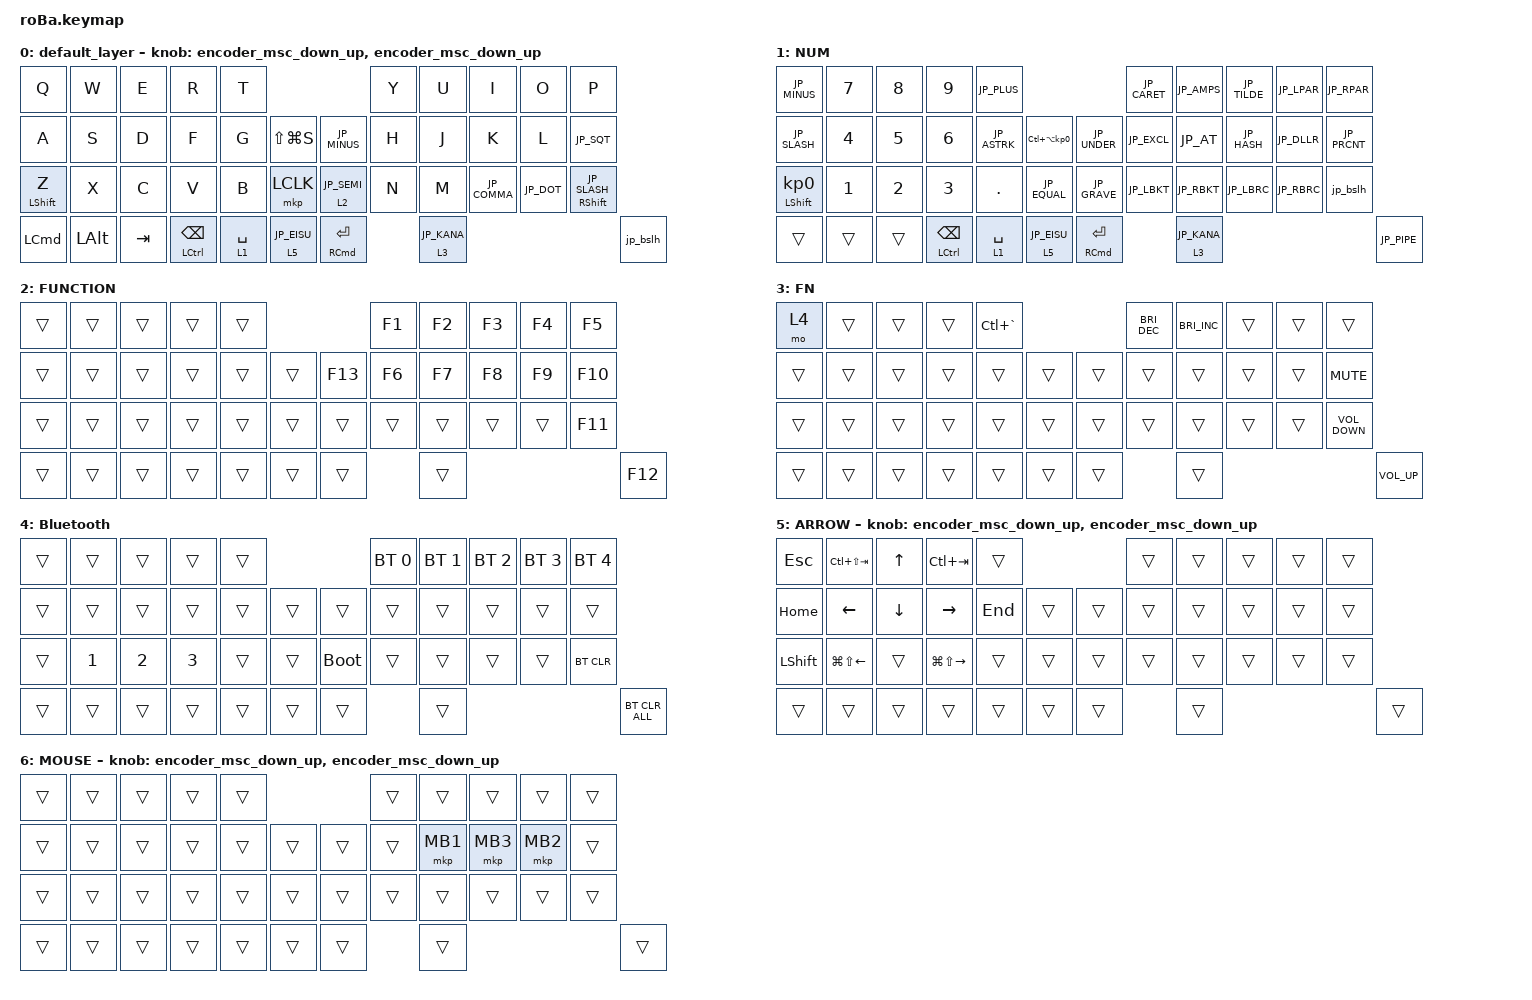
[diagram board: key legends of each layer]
#include <behaviors.dtsi>
#include <dt-bindings/zmk/bt.h>
#include <dt-bindings/zmk/keys.h>
#include <dt-bindings/zmk/pointing.h>
#include "keymap_jp.h"

#define ZMK_POINTING_DEFAULT_SCRL_VAL 80

&mt {
    flavor = "balanced";
    quick-tap-ms = <0>;
};

&lt {
    flavor = "tap-preferred";
    tapping-term-ms = <200>;
};

/ {
    combos {
        compatible = "zmk,combos";
        timeout-ms = <20>; // default is 30ms

        tab {
            bindings = <&kp TAB>;
            key-positions = <11 12>;
        };

        shift_tab {
            bindings = <&kp LS(TAB)>;
            key-positions = <12 13>;
        };

        double_quotation {
            bindings = <&kp DOUBLE_QUOTES>;
            key-positions = <20 21>;
        };

        eq {
            bindings = <&kp EQUAL>;
            key-positions = <24 25>;
        };

        close_paren {
            bindings = <&kp JP_RPAR>;
            key-positions = <8 9>;
        };

        rigtht_click {
            bindings = <&mkp RCLK>;
            key-positions = <19 20>;
        };

        left_click {
            bindings = <&mkp LCLK>;
            key-positions = <18 19>;
        };
    };

    macros {
        // macOS 日本語配列: &kp LA(INT3) では \ にならないことがあるためマクロで Option+¥ を送る
        jp_bslh: jp_bslh {
            compatible = "zmk,behavior-macro";
            #binding-cells = <0>;
            label = "JP_BSLH";
            tap-ms = <20>;
            wait-ms = <10>;
            bindings =
                <&macro_press &kp LEFT_ALT>,
                <&macro_tap &kp INT3>,
                <&macro_release &kp LEFT_ALT>;
        };

        to_layer_0: to_layer_0 {
            compatible = "zmk,behavior-macro-one-param";
            #binding-cells = <1>;
            bindings = <&to 2 &macro_param_1to1 &kp MACRO_PLACEHOLDER>;
            label = "TO_LAYER_0";
        };
    };

    behaviors {
        // Space ホールドで NUM に入るとき、他キーと同時押しでもレイヤーが外れないようにする
        lt_num: lt_num {
            compatible = "zmk,behavior-hold-tap";
            label = "LT_NUM";
            bindings = <&mo>, <&kp>;
            #binding-cells = <2>;
            flavor = "hold-preferred";
            tapping-term-ms = <250>;
        };

        lt_to_layer_0: lt_to_layer_0 {
            compatible = "zmk,behavior-hold-tap";
            label = "LAYER_TAP_TO_0";
            bindings = <&mo>, <&to_layer_0>;

            #binding-cells = <2>;
            tapping-term-ms = <200>;
        };

        encoder_msc_down_up: encoder_msc_down_up {
            compatible = "zmk,behavior-sensor-rotate";
            label = "ENCODER_MSC_DOWN_UP";
            #sensor-binding-cells = <0>;
            bindings = <&msc SCRL_DOWN>, <&msc SCRL_UP>;

            tap-ms = <20>;
        };
    };

    keymap {
        compatible = "zmk,keymap";

        default_layer {
            bindings = <
&kp Q             &kp W         &kp E    &kp R                    &kp T                                                 &kp Y        &kp U  &kp I      &kp O    &kp P
&kp A             &kp S         &kp D    &kp F                    &kp G        &kp LS(LG(S))         &kp JP_MINUS        &kp H        &kp J  &kp K      &kp L    &kp JP_SQT
&mt LEFT_SHIFT Z  &kp X         &kp C    &kp V                    &kp B        &mkp LCLK             &lt 2 JP_SEMI         &kp N        &kp M  &kp JP_COMMA  &kp JP_DOT  &mt RSHIFT JP_SLASH
&kp LEFT_COMMAND  &kp LEFT_ALT  &kp TAB  &mt LEFT_CONTROL BACKSPACE  &lt_num 1 SPACE  &lt 5 JP_EISU            &mt RIGHT_COMMAND RETURN  &lt 3 JP_KANA                             &jp_bslh
            >;

            sensor-bindings = <&encoder_msc_down_up &encoder_msc_down_up>;
        };

        NUM {
            bindings = <
&kp JP_MINUS                   &kp N7        &kp N8        &kp N9        &kp JP_PLUS                                                &kp JP_CARET         &kp JP_AMPS      &kp JP_TILDE       &kp JP_LPAR  &kp JP_RPAR
&kp JP_SLASH                   &kp NUMBER_4  &kp N5        &kp NUMBER_6  &kp JP_ASTRK  &kp LC(LA(KP_NUMBER_0))      &kp JP_UNDER  &kp JP_EXCL   &kp JP_AT        &kp JP_HASH        &kp JP_DLLR  &kp JP_PRCNT
&mt LEFT_SHIFT KP_NUMBER_0    &kp NUMBER_1  &kp NUMBER_2  &kp NUMBER_3  &kp PERIOD    &kp JP_EQUAL                 &kp JP_GRAVE  &kp JP_LBKT   &kp JP_RBKT       &kp JP_LBRC        &kp JP_RBRC  &jp_bslh
&trans                        &trans        &trans        &mt LEFT_CONTROL BACKSPACE  &lt_num 1 SPACE  &lt 5 JP_EISU            &mt RIGHT_COMMAND RETURN  &lt 3 JP_KANA                             &kp JP_PIPE
            >;
        };

        FUNCTION {
            bindings = <
&trans  &trans  &trans  &trans  &trans                       &kp F1  &kp F2  &kp F3  &kp F4  &kp F5
&trans  &trans  &trans  &trans  &trans  &trans      &kp F13  &kp F6  &kp F7  &kp F8  &kp F9  &kp F10
&trans  &trans  &trans  &trans  &trans  &trans      &trans   &trans  &trans  &trans  &trans  &kp F11
&trans  &trans  &trans  &trans  &trans  &trans      &trans   &trans                          &kp F12
            >;
        };

        FN {
            bindings = <
&mo 4   &trans  &trans  &trans  &kp LC(GRAVE)                 &kp C_BRIGHTNESS_DEC  &kp C_BRIGHTNESS_INC  &trans  &trans  &trans
&trans  &trans  &trans  &trans  &trans  &trans      &trans  &trans                &trans                &trans  &trans  &kp C_MUTE
&trans  &trans  &trans  &trans  &trans  &trans      &trans  &trans                &trans                &trans  &trans  &kp C_VOLUME_DOWN
&trans  &trans  &trans  &trans  &trans  &trans      &trans  &trans                                                      &kp C_VOLUME_UP
            >;
        };

        Bluetooth {
            bindings = <
&trans  &trans        &trans        &trans        &trans                           &bt BT_SEL 0  &bt BT_SEL 1  &bt BT_SEL 2  &bt BT_SEL 3  &bt BT_SEL 4
&trans  &trans        &trans        &trans        &trans  &trans      &trans       &trans        &trans        &trans        &trans        &trans
&trans  &kp NUMBER_1  &kp NUMBER_2  &kp NUMBER_3  &trans  &trans      &bootloader  &trans        &trans        &trans        &trans        &bt BT_CLR
&trans  &trans        &trans        &trans        &trans  &trans      &trans       &trans                                                  &bt BT_CLR_ALL
            >;
        };

        ARROW {
            bindings = <
&kp ESCAPE      &kp LC(LS(TAB))         &kp UP_ARROW    &kp LC(TAB)              &trans                       &trans  &trans  &trans  &trans  &trans
&kp HOME        &kp LEFT_ARROW          &kp DOWN_ARROW  &kp RIGHT_ARROW          &kp END  &trans      &trans  &trans  &trans  &trans  &trans  &trans
&kp LEFT_SHIFT  &kp LG(LS(LEFT_ARROW))  &trans          &kp LG(LS(RIGHT_ARROW))  &trans   &trans      &trans  &trans  &trans  &trans  &trans  &trans
&trans          &trans                  &trans          &trans                   &trans   &trans      &trans  &trans                          &trans
            >;

            sensor-bindings = <&encoder_msc_down_up &encoder_msc_down_up>;
        };

        MOUSE {
            bindings = <
 &trans  &trans  &trans  &trans  &trans                      &trans  &trans    &trans    &trans    &trans
 &trans  &trans  &trans  &trans  &trans  &trans      &trans  &trans  &mkp MB1  &mkp MB3  &mkp MB2  &trans
 &trans  &trans  &trans  &trans  &trans  &trans      &trans  &trans  &trans    &trans    &trans    &trans
 &trans  &trans  &trans  &trans  &trans  &trans      &trans  &trans                                &trans
            >;

            sensor-bindings = <&encoder_msc_down_up &encoder_msc_down_up>;
        };
    };
};
